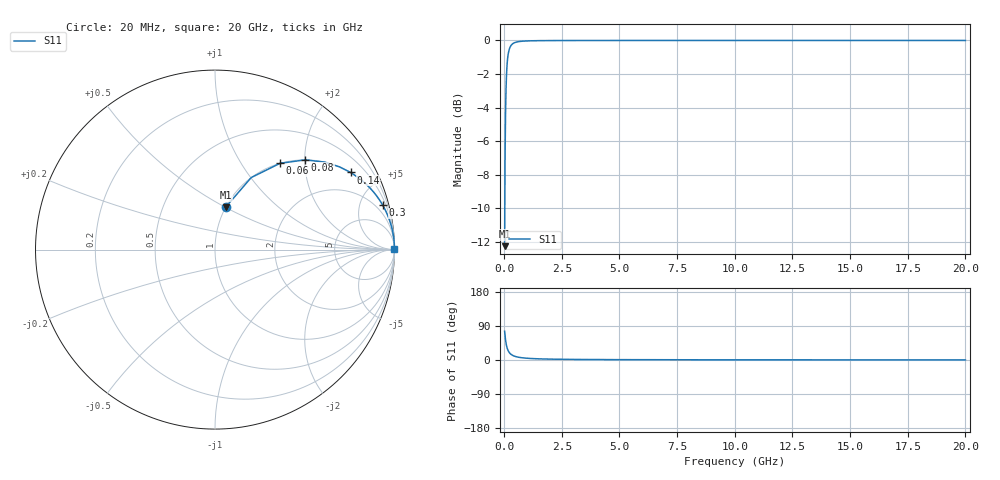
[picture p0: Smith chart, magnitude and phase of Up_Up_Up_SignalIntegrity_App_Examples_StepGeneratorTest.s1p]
# MHz MA S R 50.0
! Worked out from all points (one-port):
!   1000 points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, 20 MHz to 20 GHz, reference 50 ohm
!   lowest |S11| = -12.3 dB at 20 MHz (marker M1), VSWR 1.64, Z = 50 + j25.1 ohm
!   |S11| at or under -10 dB: start of sweep to 28.52 MHz
!   S11 on the Smith chart (normalised r, x): 20 MHz: 1.00, +0.50; 60 MHz: 1.00, +1.51; 80 MHz: 1.00, +2.01; 140 MHz: 1.00, +3.52; 300 MHz: 1.00, +7.54; 20 GHz: open
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20  0.2437 75.9
60  0.602 53.0
80  0.709 44.8
140  0.8694 29.6
160  0.8954 26.4
180  0.9146 23.9
200  0.9292 21.7
220  0.9404 19.9
240  0.9492 18.3
260  0.9562 17.0
300  0.9666 14.9
340  0.9737 13.2
400  0.9808 11.3
460  0.9854 9.8
520  0.9885 8.7
680  0.9932 6.7
880  0.9959 5.2
1140  0.9976 4.0
1500  0.9986 3.0
1940  0.9992 2.3
2520  0.9995 1.8
5020  0.9999 0.9
7520  0.9999 0.6
10020  1 0.5
12520  1 0.4
15020  1 0.3
17520  1 0.3
20000  1 0.2
